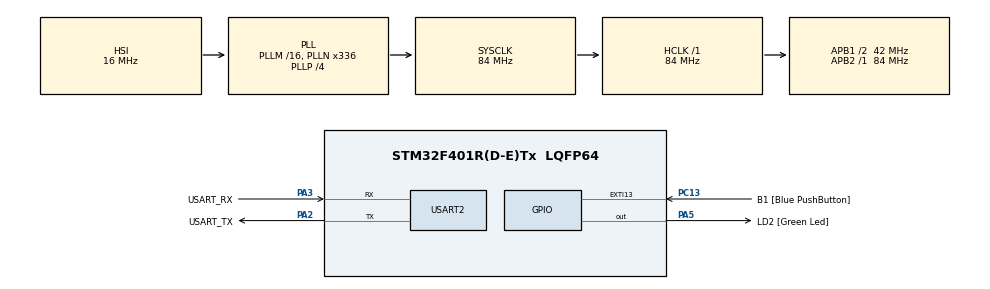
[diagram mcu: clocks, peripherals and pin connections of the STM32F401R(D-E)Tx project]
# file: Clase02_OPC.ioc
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Mcu.Family=STM32F4
Mcu.Name=STM32F401R(D-E)Tx
Mcu.Package=LQFP64
NVIC.PriorityGroup=NVIC_PRIORITYGROUP_0
PA13.GPIO_Label=TMS
PA13.Mode=Serial_Wire
PA13.Signal=SYS_JTMS-SWDIO
PA14.GPIO_Label=TCK
PA14.Mode=Serial_Wire
PA14.Signal=SYS_JTCK-SWCLK
PA2.GPIO_Label=USART_TX
PA2.GPIO_Mode=GPIO_MODE_AF_PP
PA2.GPIO_PuPd=GPIO_NOPULL
PA2.GPIO_Speed=GPIO_SPEED_FREQ_LOW
PA2.Mode=Asynchronous
PA2.Signal=USART2_TX
PA3.GPIO_Label=USART_RX
PA3.GPIO_Mode=GPIO_MODE_AF_PP
PA3.GPIO_PuPd=GPIO_NOPULL
PA3.GPIO_Speed=GPIO_SPEED_FREQ_LOW
PA3.Mode=Asynchronous
PA3.Signal=USART2_RX
PA5.GPIO_Label=LD2 [Green Led]
PA5.GPIO_Mode=GPIO_MODE_OUTPUT_PP
PA5.GPIO_PuPd=GPIO_NOPULL
PA5.GPIO_Speed=GPIO_SPEED_FREQ_LOW
PA5.Signal=GPIO_Output
PB3.GPIO_Label=SWO
PB3.Signal=SYS_JTDO-SWO
PC13-ANTI_TAMP.GPIO_Label=B1 [Blue PushButton]
PC13-ANTI_TAMP.GPIO_ModeDefaultEXTI=GPIO_MODE_IT_FALLING
PC13-ANTI_TAMP.GPIO_PuPd=GPIO_NOPULL
PC13-ANTI_TAMP.Signal=GPXTI13
PC14-OSC32_IN.Mode=LSE-External-Oscillator
PC14-OSC32_IN.Signal=RCC_OSC32_IN
PC15-OSC32_OUT.Mode=LSE-External-Oscillator
PC15-OSC32_OUT.Signal=RCC_OSC32_OUT
PH0\ -\ OSC_IN.Mode=HSE-External-Clock-Source
PH0\ -\ OSC_IN.Signal=RCC_OSC_IN
PH1\ -\ OSC_OUT.Mode=HSE-External-Clock-Source
PH1\ -\ OSC_OUT.Signal=RCC_OSC_OUT
ProjectManager.HeapSize=0x200
ProjectManager.StackSize=0x400
ProjectManager.TargetToolchain=STM32CubeIDE
RCC.48MHZClocksFreq_Value=48000000
RCC.AHBFreq_Value=84000000
RCC.APB1CLKDivider=RCC_HCLK_DIV2
RCC.APB1Freq_Value=42000000
RCC.APB1TimFreq_Value=84000000
RCC.APB2Freq_Value=84000000
RCC.APB2TimFreq_Value=84000000
RCC.CortexFreq_Value=84000000
RCC.HCLKFreq_Value=84000000
RCC.HSE_VALUE=8000000
RCC.HSI_VALUE=16000000
RCC.PLLN=336
RCC.PLLP=RCC_PLLP_DIV4
RCC.PLLQ=7
RCC.SYSCLKFreq_VALUE=84000000
RCC.SYSCLKSource=RCC_SYSCLKSOURCE_PLLCLK
RCC.VCOOutputFreq_Value=336000000
USART2.VirtualMode=VM_ASYNC
board=NUCLEO-F401RE

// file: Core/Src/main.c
/* USER CODE BEGIN Header */
/**
  ******************************************************************************
  * @file           : main.c
  * @brief          : Main program body
  ******************************************************************************
  * @attention
  *
  * Copyright (c) 2023 STMicroelectronics.
  * All rights reserved.
  *
  * This software is licensed under terms that can be found in the LICENSE file
  * in the root directory of this software component.
  * If no LICENSE file comes with this software, it is provided AS-IS.
  *
  ******************************************************************************
  */
/* USER CODE END Header */
#include "main.h"

UART_HandleTypeDef huart2;

/* USER CODE BEGIN PV */
uint8_t btn_pressed = 0;
uint16_t timer = 500;

//Definición de repeticiones y tiempo

//Matriz de definición de pares ciclos, ms
uint16_t settings[3][3] = {{5,1000},{5,200},{5,100}};

uint8_t count = 0;
//step define en que paso está de las distintas alternativas
uint8_t step = 1;

/* USER CODE END PV */

void SystemClock_Config(void);
static void MX_GPIO_Init(void);
static void MX_USART2_UART_Init(void);

int main(void)
{
  /* USER CODE BEGIN 1 */
	//Definiciones de distintas instancias de la estructura delay_t
	delay_t delay01;

	// definición de delay01 según matriz de configuracion (inicia con el valor del primer par
	delayInit(&delay01,settings[0][1]);

	// Remover comentario para problar la carga directa de la función delayWrite
	//delayWrite(&delay01,1000);

  /* USER CODE END 1 */

  /* MCU Configuration--------------------------------------------------------*/

  /* Reset of all peripherals, Initializes the Flash interface and the Systick. */
  HAL_Init();

  /* Configure the system clock */
  SystemClock_Config();

  /* Initialize all configured peripherals */
  MX_GPIO_Init();
  MX_USART2_UART_Init();

  /* Infinite loop */
  /* USER CODE BEGIN WHILE */
  while (1)
  {

	  if(delayRead(&delay01)==1){
		  HAL_GPIO_TogglePin(LD2_GPIO_Port, LD2_Pin);
		  count = count + 1;
		  if(step==1){
			  if(count==settings[0][0]*2){
				  step = 2;
				  count = 0;
				  delayWrite(&delay01,settings[1][1]);
			  }
		  }
		  if(step==2){
			  if(count==settings[1][0]*2){
				  step = 3;
				  count = 0;
				  delayWrite(&delay01,settings[2][1]);
			  }
		  }
		  if(step==3){
			  if(count==settings[2][0]*2){
				  step = 1;
		 		  count = 0;
		 		 delayWrite(&delay01,settings[0][1]);
		  	  }
		  }		  																																																			  }

    /* USER CODE END WHILE */

  }
}

void SystemClock_Config(void)
{
  RCC_OscInitTypeDef RCC_OscInitStruct = {0};
  RCC_ClkInitTypeDef RCC_ClkInitStruct = {0};

  /** Configure the main internal regulator output voltage
  */
  __HAL_RCC_PWR_CLK_ENABLE();
  __HAL_PWR_VOLTAGESCALING_CONFIG(PWR_REGULATOR_VOLTAGE_SCALE2);

  /** Initializes the RCC Oscillators according to the specified parameters
  * in the RCC_OscInitTypeDef structure.
  */
  RCC_OscInitStruct.OscillatorType = RCC_OSCILLATORTYPE_HSI;
  RCC_OscInitStruct.HSIState = RCC_HSI_ON;
  RCC_OscInitStruct.HSICalibrationValue = RCC_HSICALIBRATION_DEFAULT;
  RCC_OscInitStruct.PLL.PLLState = RCC_PLL_ON;
  RCC_OscInitStruct.PLL.PLLSource = RCC_PLLSOURCE_HSI;
  RCC_OscInitStruct.PLL.PLLM = 16;
  RCC_OscInitStruct.PLL.PLLN = 336;
  RCC_OscInitStruct.PLL.PLLP = RCC_PLLP_DIV4;
  RCC_OscInitStruct.PLL.PLLQ = 7;
  if (HAL_RCC_OscConfig(&RCC_OscInitStruct) != HAL_OK)
  {
    Error_Handler();
  }

  /** Initializes the CPU, AHB and APB buses clocks
  */
  RCC_ClkInitStruct.ClockType = RCC_CLOCKTYPE_HCLK|RCC_CLOCKTYPE_SYSCLK
                              |RCC_CLOCKTYPE_PCLK1|RCC_CLOCKTYPE_PCLK2;
  RCC_ClkInitStruct.SYSCLKSource = RCC_SYSCLKSOURCE_PLLCLK;
  RCC_ClkInitStruct.AHBCLKDivider = RCC_SYSCLK_DIV1;
  RCC_ClkInitStruct.APB1CLKDivider = RCC_HCLK_DIV2;
  RCC_ClkInitStruct.APB2CLKDivider = RCC_HCLK_DIV1;

  if (HAL_RCC_ClockConfig(&RCC_ClkInitStruct, FLASH_LATENCY_2) != HAL_OK)
  {
    Error_Handler();
  }
}

static void MX_USART2_UART_Init(void)
{

  huart2.Instance = USART2;
  huart2.Init.BaudRate = 115200;
  huart2.Init.WordLength = UART_WORDLENGTH_8B;
  huart2.Init.StopBits = UART_STOPBITS_1;
  huart2.Init.Parity = UART_PARITY_NONE;
  huart2.Init.Mode = UART_MODE_TX_RX;
  huart2.Init.HwFlowCtl = UART_HWCONTROL_NONE;
  huart2.Init.OverSampling = UART_OVERSAMPLING_16;
  if (HAL_UART_Init(&huart2) != HAL_OK)
  {
    Error_Handler();
  }

}

static void MX_GPIO_Init(void)
{
  GPIO_InitTypeDef GPIO_InitStruct = {0};

  /* GPIO Ports Clock Enable */
  __HAL_RCC_GPIOC_CLK_ENABLE();
  __HAL_RCC_GPIOH_CLK_ENABLE();
  __HAL_RCC_GPIOA_CLK_ENABLE();
  __HAL_RCC_GPIOB_CLK_ENABLE();

  /*Configure GPIO pin Output Level */
  HAL_GPIO_WritePin(LD2_GPIO_Port, LD2_Pin, GPIO_PIN_RESET);

  /*Configure GPIO pin : B1_Pin */
  GPIO_InitStruct.Pin = B1_Pin;
  GPIO_InitStruct.Mode = GPIO_MODE_IT_FALLING;
  GPIO_InitStruct.Pull = GPIO_NOPULL;
  HAL_GPIO_Init(B1_GPIO_Port, &GPIO_InitStruct);

  /*Configure GPIO pin : LD2_Pin */
  GPIO_InitStruct.Pin = LD2_Pin;
  GPIO_InitStruct.Mode = GPIO_MODE_OUTPUT_PP;
  GPIO_InitStruct.Pull = GPIO_NOPULL;
  GPIO_InitStruct.Speed = GPIO_SPEED_FREQ_LOW;
  HAL_GPIO_Init(LD2_GPIO_Port, &GPIO_InitStruct);

}

/* USER CODE BEGIN 4 */

	//Función donde se alojarán los datos del retardo
	void delayInit( delay_t * delay, tick_t duration ){

		delay->duration = duration;
		delay->running = false;
		delay->startTime = 0;

	}
	//Función de disparo del retardo: Retorna: 1= tiempo cumplido 0: no alcanzo el tiempo asignado
	bool_t delayRead( delay_t * delay ){

		if(delay->running == false){

			delay->startTime = HAL_GetTick();
			delay->running = true;
			return 0;
		}
		else{
			if(HAL_GetTick()- delay->startTime >= delay->duration){
				delay->running = false;
				return 1;
			}
			else{
				return 0;
			}

		}

	}
	//Función de cambio de duracion de tiempo de delay existente
	void delayWrite( delay_t * delay, tick_t duration ){

		delay->duration = duration;

	}

/* USER CODE END 4 */

void Error_Handler(void)
{
  __disable_irq();
  while (1)
  {
  }
}
